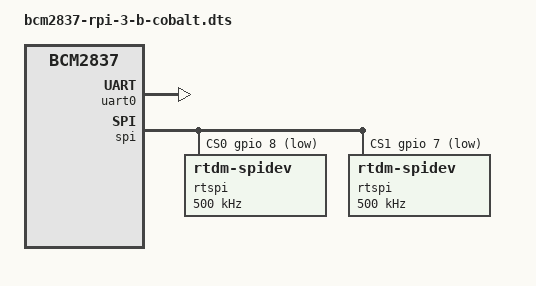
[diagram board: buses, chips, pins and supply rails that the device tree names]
#include "bcm2837-rpi-3-b.dts"

&gpio {
	spi0_pins: spi0_pins {
		brcm,pins = <9 10 11>;
		brcm,function = <4>; /* alt0 */
	};

	spi0_cs_pins: spi0_cs_pins {
		brcm,pins = <8 7>;
		brcm,function = <1>; /* output */
	};

	uart0_pins: uart0_pins {
		brcm,pins = <32 33>;
		brcm,function = <7>; /* alt3=UART0 */
		brcm,pull = <0 2>;
	};
};

&uart0 {
	pinctrl-names = "default";
	pinctrl-0 = <&uart0_pins>;
	status = "okay";
};

&spi {
	pinctrl-names = "default";
	pinctrl-0 = <&spi0_pins &spi0_cs_pins>;
	cs-gpios = <&gpio 8 1>, <&gpio 7 1>;
	dmas = <&dma 6>, <&dma 7>;
	dma-names = "tx", "rx";
	status = "okay";

	rtspi@0 {
		compatible = "rtdm-spidev";
		reg = <0>;	/* CE0 */
		#address-cells = <1>;
		#size-cells = <0>;
		spi-max-frequency = <500000>;
		status = "okay";
	};

	rtspi@1 {
		compatible = "rtdm-spidev";
		reg = <1>;	/* CE1 */
		#address-cells = <1>;
		#size-cells = <0>;
		spi-max-frequency = <500000>;
		status = "okay";
	};
};
